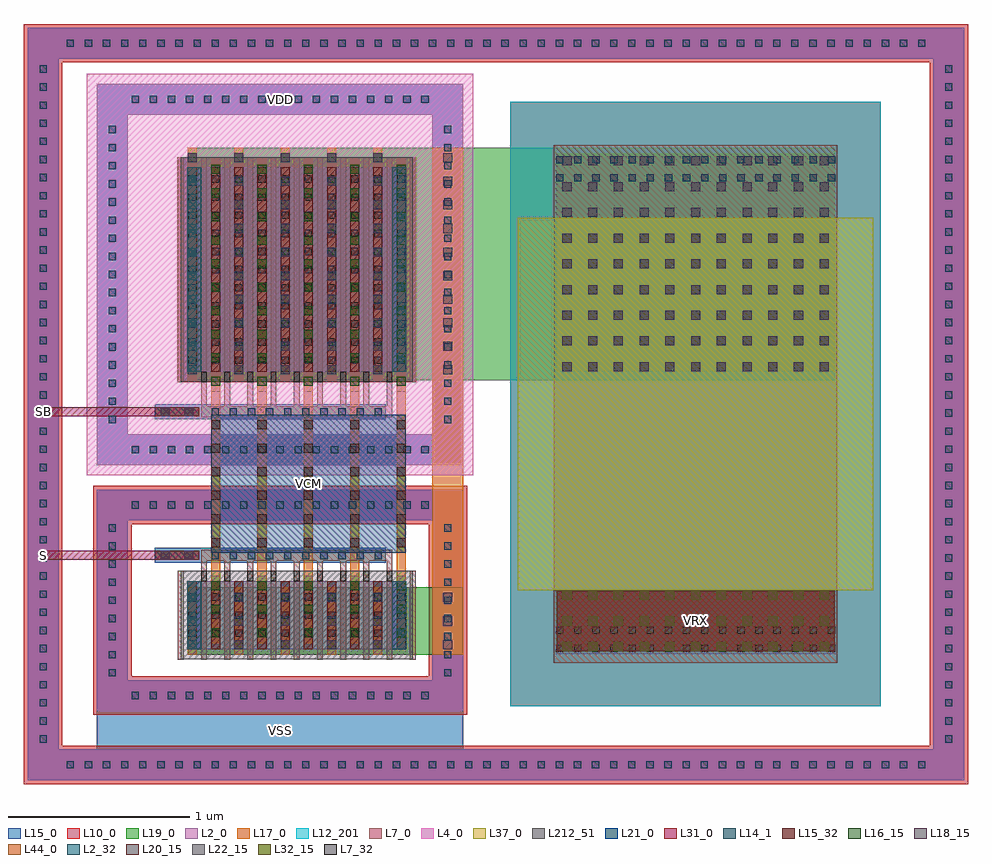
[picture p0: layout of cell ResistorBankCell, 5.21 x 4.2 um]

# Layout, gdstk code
import gdstk
lib = gdstk.Library(unit=1e-6, precision=1e-09)
def R(c, l, rs):  # rectangles x0, y0, x1, y1
    for r in rs: c.add(gdstk.rectangle(r[:2], r[2:], *l))
def A(c, l, x, y, w, h, nx, ny, dx, dy):  # array of equal rectangles
    R(c, l, [(x+i*dx, y+j*dy, x+i*dx+w, y+j*dy+h) for i in range(nx) for j in range(ny)])
L2_0 = (2, 0)
L2_32 = (2, 32)
L4_0 = (4, 0)
L7_0 = (7, 0)
L7_32 = (7, 32)
L10_0 = (10, 0)
L12_201 = (12, 201)
L14_1 = (14, 1)
L15_0 = (15, 0)
L15_32 = (15, 32)
L16_15 = (16, 15)
L17_0 = (17, 0)
L18_15 = (18, 15)
L19_0 = (19, 0)
L20_15 = (20, 15)
L21_0 = (21, 0)
L22_15 = (22, 15)
L31_0 = (31, 0)
L32_15 = (32, 15)
L37_0 = (37, 0)
L44_0 = (44, 0)
L212_51 = (212, 51)

nmosintransmissiongate = lib.new_cell('NMOSInTransmissionGate')
R(nmosintransmissiongate, L2_0, [(-0.604,-0.188,0.604,0.188)])
R(nmosintransmissiongate, L2_32, [(-0.604,-0.188,-0.528,0.188), (0.528,-0.188,0.604,0.188)])
A(nmosintransmissiongate, L7_0, -0.656, -0.245, 0.032, 0.49, 11, 1, 0.128, 0)
A(nmosintransmissiongate, L7_32, -0.528, -0.245, 0.032, 0.057, 9, 1, 0.128, 0)
A(nmosintransmissiongate, L14_1, -0.596, -0.12, 0.04, 0.04, 10, 3, 0.128, 0.1)
A(nmosintransmissiongate, L15_0, -0.601, -0.188, 0.05, 0.376, 10, 1, 0.128, 0)
A(nmosintransmissiongate, L15_32, -0.601, -0.188, 0.05, 0.376, 10, 1, 0.128, 0)
R(nmosintransmissiongate, L212_51, [(-0.64,-0.244,0.64,0.244)])

pmosintransmissiongate = lib.new_cell('PMOSInTransmissionGate')
R(pmosintransmissiongate, L2_0, [(-0.604,-0.564,0.604,0.564)])
R(pmosintransmissiongate, L2_32, [(-0.604,-0.564,-0.528,0.564), (0.528,-0.564,0.604,0.564)])
A(pmosintransmissiongate, L7_0, -0.656, -0.621, 0.032, 1.242, 11, 1, 0.128, 0)
A(pmosintransmissiongate, L7_32, -0.528, -0.621, 0.032, 0.057, 9, 1, 0.128, 0)
R(pmosintransmissiongate, L10_0, [(-0.66,-0.621,0.66,0.621)])
A(pmosintransmissiongate, L14_1, -0.596, -0.52, 0.04, 0.04, 10, 11, 0.128, 0.1)
A(pmosintransmissiongate, L15_0, -0.601, -0.564, 0.05, 1.128, 10, 1, 0.128, 0)
A(pmosintransmissiongate, L15_32, -0.601, -0.564, 0.05, 1.128, 10, 1, 0.128, 0)
R(pmosintransmissiongate, L212_51, [(-0.64,-0.62,0.64,0.62)])

viamet12met2onpmosoutput = lib.new_cell('ViaMet12Met2OnPMOSOutputInTransmissionGate')
R(viamet12met2onpmosoutput, L15_0, [(-0.025,-0.642,0.025,0.642)])
A(viamet12met2onpmosoutput, L16_15, -0.025, -0.61, 0.05, 0.05, 1, 10, 0, 0.13)
R(viamet12met2onpmosoutput, L17_0, [(-0.025,-0.642,0.025,0.642)])

viamet22met3onpmosoutput = lib.new_cell('ViaMet22Met3OnPMOSOutputInTransmissionGate')
R(viamet22met3onpmosoutput, L17_0, [(-0.025,-0.642,0.025,0.642)])
A(viamet22met3onpmosoutput, L18_15, -0.025, -0.61, 0.05, 0.05, 1, 10, 0, 0.13)
R(viamet22met3onpmosoutput, L19_0, [(-0.025,-0.642,0.025,0.642)])

viamet12met2onnmosoutput = lib.new_cell('ViaMet12Met2OnNMOSOutputInTransmissionGate')
R(viamet12met2onnmosoutput, L15_0, [(-0.025,-0.187,0.025,0.187)])
A(viamet12met2onnmosoutput, L16_15, -0.025, -0.155, 0.05, 0.05, 1, 3, 0, 0.13)
R(viamet12met2onnmosoutput, L17_0, [(-0.025,-0.187,0.025,0.187)])

viamet22met3onnmosoutput = lib.new_cell('ViaMet22Met3OnNMOSOutputInTransmissionGate')
R(viamet22met3onnmosoutput, L17_0, [(-0.025,-0.187,0.025,0.187)])
A(viamet22met3onnmosoutput, L18_15, -0.025, -0.155, 0.05, 0.05, 1, 3, 0, 0.13)
R(viamet22met3onnmosoutput, L19_0, [(-0.025,-0.187,0.025,0.187)])

viapoly2met1onpmoscontro = lib.new_cell('ViaPoly2Met1OnPMOSControlInTransmissionGate')
R(viapoly2met1onpmoscontro, L7_0, [(-0.48,-0.03,0.48,0.03)])
A(viapoly2met1onpmoscontro, L14_1, -0.47, -0.02, 0.04, 0.04, 10, 1, 0.1, 0)
R(viapoly2met1onpmoscontro, L15_0, [(-0.491,-0.041,0.491,0.041)])

viapoly2met1onnmoscontro = lib.new_cell('ViaPoly2Met1OnNMOSControlInTransmissionGate')
R(viapoly2met1onnmoscontro, L7_0, [(-0.48,-0.03,0.48,0.03)])
A(viapoly2met1onnmoscontro, L14_1, -0.47, -0.02, 0.04, 0.04, 10, 1, 0.1, 0)
R(viapoly2met1onnmoscontro, L15_0, [(-0.491,-0.041,0.491,0.041)])

transmissiongateinresist = lib.new_cell('TransmissionGateInResistorBank')
transmissiongateinresist.add(gdstk.FlexPath([(-0.512,0.444),(-0.512,0.804)], 0.032, ends="flush", simple_path=True, layer=7, datatype=0))  # L7_0
transmissiongateinresist.add(gdstk.FlexPath([(-0.384,0.444),(-0.384,0.804)], 0.032, ends="flush", simple_path=True, layer=7, datatype=0))  # L7_0
transmissiongateinresist.add(gdstk.FlexPath([(-0.256,0.444),(-0.256,0.804)], 0.032, ends="flush", simple_path=True, layer=7, datatype=0))  # L7_0
transmissiongateinresist.add(gdstk.FlexPath([(-0.128,0.444),(-0.128,0.804)], 0.032, ends="flush", simple_path=True, layer=7, datatype=0))  # L7_0
transmissiongateinresist.add(gdstk.FlexPath([(0,0.444),(0,0.804)], 0.032, ends="flush", simple_path=True, layer=7, datatype=0))  # L7_0
transmissiongateinresist.add(gdstk.FlexPath([(0.128,0.444),(0.128,0.804)], 0.032, ends="flush", simple_path=True, layer=7, datatype=0))  # L7_0
transmissiongateinresist.add(gdstk.FlexPath([(0.256,0.444),(0.256,0.804)], 0.032, ends="flush", simple_path=True, layer=7, datatype=0))  # L7_0
transmissiongateinresist.add(gdstk.FlexPath([(0.384,0.444),(0.384,0.804)], 0.032, ends="flush", simple_path=True, layer=7, datatype=0))  # L7_0
transmissiongateinresist.add(gdstk.FlexPath([(0.512,0.444),(0.512,0.804)], 0.032, ends="flush", simple_path=True, layer=7, datatype=0))  # L7_0
transmissiongateinresist.add(gdstk.FlexPath([(-0.512,2.352),(-0.512,1.537)], 0.032, ends="flush", simple_path=True, layer=7, datatype=0))  # L7_0
transmissiongateinresist.add(gdstk.FlexPath([(-0.384,2.352),(-0.384,1.537)], 0.032, ends="flush", simple_path=True, layer=7, datatype=0))  # L7_0
transmissiongateinresist.add(gdstk.FlexPath([(-0.256,2.352),(-0.256,1.537)], 0.032, ends="flush", simple_path=True, layer=7, datatype=0))  # L7_0
transmissiongateinresist.add(gdstk.FlexPath([(-0.128,2.352),(-0.128,1.537)], 0.032, ends="flush", simple_path=True, layer=7, datatype=0))  # L7_0
transmissiongateinresist.add(gdstk.FlexPath([(0,2.352),(0,1.537)], 0.032, ends="flush", simple_path=True, layer=7, datatype=0))  # L7_0
transmissiongateinresist.add(gdstk.FlexPath([(0.128,2.352),(0.128,1.537)], 0.032, ends="flush", simple_path=True, layer=7, datatype=0))  # L7_0
transmissiongateinresist.add(gdstk.FlexPath([(0.256,2.352),(0.256,1.537)], 0.032, ends="flush", simple_path=True, layer=7, datatype=0))  # L7_0
transmissiongateinresist.add(gdstk.FlexPath([(0.384,2.352),(0.384,1.537)], 0.032, ends="flush", simple_path=True, layer=7, datatype=0))  # L7_0
transmissiongateinresist.add(gdstk.FlexPath([(0.512,2.352),(0.512,1.537)], 0.032, ends="flush", simple_path=True, layer=7, datatype=0))  # L7_0
transmissiongateinresist.add(gdstk.FlexPath([(-0.512,0.774),(0.512,0.774)], 0.06, ends="flush", simple_path=True, layer=7, datatype=0))  # L7_0
transmissiongateinresist.add(gdstk.FlexPath([(-0.512,1.567),(0.512,1.567)], 0.06, ends="flush", simple_path=True, layer=7, datatype=0))  # L7_0
transmissiongateinresist.add(gdstk.Reference(nmosintransmissiongate, (0,0.444), x_reflection=True))
transmissiongateinresist.add(gdstk.Reference(pmosintransmissiongate, (0,2.352)))
transmissiongateinresist.add(gdstk.Reference(viamet12met2onpmosoutput, (-0.448,2.32)))
transmissiongateinresist.add(gdstk.Reference(viamet12met2onpmosoutput, (-0.192,2.32)))
transmissiongateinresist.add(gdstk.Reference(viamet12met2onpmosoutput, (0.064,2.32)))
transmissiongateinresist.add(gdstk.Reference(viamet12met2onpmosoutput, (0.32,2.32)))
transmissiongateinresist.add(gdstk.Reference(viamet12met2onpmosoutput, (0.576,2.32)))
transmissiongateinresist.add(gdstk.Reference(viamet12met2onpmosoutput, (-0.576,2.384)))
transmissiongateinresist.add(gdstk.Reference(viamet12met2onpmosoutput, (-0.32,2.384)))
transmissiongateinresist.add(gdstk.Reference(viamet12met2onpmosoutput, (-0.064,2.384)))
transmissiongateinresist.add(gdstk.Reference(viamet12met2onpmosoutput, (0.192,2.384)))
transmissiongateinresist.add(gdstk.Reference(viamet12met2onpmosoutput, (0.448,2.384)))
transmissiongateinresist.add(gdstk.Reference(viamet22met3onpmosoutput, (-0.576,2.384)))
transmissiongateinresist.add(gdstk.Reference(viamet22met3onpmosoutput, (-0.32,2.384)))
transmissiongateinresist.add(gdstk.Reference(viamet22met3onpmosoutput, (-0.064,2.384)))
transmissiongateinresist.add(gdstk.Reference(viamet22met3onpmosoutput, (0.192,2.384)))
transmissiongateinresist.add(gdstk.Reference(viamet22met3onpmosoutput, (0.448,2.384)))
transmissiongateinresist.add(gdstk.Reference(viamet12met2onnmosoutput, (-0.448,0.476)))
transmissiongateinresist.add(gdstk.Reference(viamet12met2onnmosoutput, (-0.192,0.476)))
transmissiongateinresist.add(gdstk.Reference(viamet12met2onnmosoutput, (0.064,0.476)))
transmissiongateinresist.add(gdstk.Reference(viamet12met2onnmosoutput, (0.32,0.476)))
transmissiongateinresist.add(gdstk.Reference(viamet12met2onnmosoutput, (0.576,0.476)))
transmissiongateinresist.add(gdstk.Reference(viamet12met2onnmosoutput, (-0.576,0.412)))
transmissiongateinresist.add(gdstk.Reference(viamet12met2onnmosoutput, (-0.32,0.412)))
transmissiongateinresist.add(gdstk.Reference(viamet12met2onnmosoutput, (-0.064,0.412)))
transmissiongateinresist.add(gdstk.Reference(viamet12met2onnmosoutput, (0.192,0.412)))
transmissiongateinresist.add(gdstk.Reference(viamet12met2onnmosoutput, (0.448,0.412)))
transmissiongateinresist.add(gdstk.Reference(viamet22met3onnmosoutput, (-0.576,0.412)))
transmissiongateinresist.add(gdstk.Reference(viamet22met3onnmosoutput, (-0.32,0.412)))
transmissiongateinresist.add(gdstk.Reference(viamet22met3onnmosoutput, (-0.064,0.412)))
transmissiongateinresist.add(gdstk.Reference(viamet22met3onnmosoutput, (0.192,0.412)))
transmissiongateinresist.add(gdstk.Reference(viamet22met3onnmosoutput, (0.448,0.412)))
transmissiongateinresist.add(gdstk.Reference(viapoly2met1onpmoscontro, (0,1.567)))
transmissiongateinresist.add(gdstk.Reference(viapoly2met1onnmoscontro, (0,0.774)))

viamet12met2oninputinres = lib.new_cell('ViaMet12Met2OnInputInResistorBank')
R(viamet12met2oninputinres, L15_0, [(-0.122,-0.025,0.122,0.025)])
R(viamet12met2oninputinres, L16_15, [(-0.09,-0.025,-0.04,0.025), (0.04,-0.025,0.09,0.025)])
R(viamet12met2oninputinres, L17_0, [(-0.122,-0.025,0.122,0.025)])

viamet22met3oninputinres = lib.new_cell('ViaMet22Met3OnInputInResistorBank')
R(viamet22met3oninputinres, L17_0, [(-0.122,-0.025,0.122,0.025)])
R(viamet22met3oninputinres, L18_15, [(-0.09,-0.025,-0.04,0.025), (0.04,-0.025,0.09,0.025)])
R(viamet22met3oninputinres, L19_0, [(-0.122,-0.025,0.122,0.025)])

viamet32met4oninputinres = lib.new_cell('ViaMet32Met4OnInputInResistorBank')
R(viamet32met4oninputinres, L19_0, [(-0.122,-0.025,0.122,0.025)])
R(viamet32met4oninputinres, L20_15, [(-0.09,-0.025,-0.04,0.025), (0.04,-0.025,0.09,0.025)])
R(viamet32met4oninputinres, L21_0, [(-0.122,-0.025,0.122,0.025)])

viamet42met5oninputinres = lib.new_cell('ViaMet42Met5OnInputInResistorBank')
R(viamet42met5oninputinres, L21_0, [(-0.122,-0.025,0.122,0.025)])
R(viamet42met5oninputinres, L22_15, [(-0.09,-0.025,-0.04,0.025), (0.04,-0.025,0.09,0.025)])
R(viamet42met5oninputinres, L31_0, [(-0.122,-0.025,0.122,0.025)])

opppcresinresistorbank = lib.new_cell('OpppcresInResistorBank')
R(opppcresinresistorbank, L7_0, [(-0.782,-1.429,0.782,1.429)])
R(opppcresinresistorbank, L10_0, [(-1.022,-1.669,1.022,1.669)])
R(opppcresinresistorbank, L12_201, [(-1.022,-1.669,1.022,1.669)])
A(opppcresinresistorbank, L14_1, -0.77, -1.369, 0.04, 0.04, 16, 2, 0.1, 0.1)
A(opppcresinresistorbank, L14_1, -0.77, 1.229, 0.04, 0.04, 16, 2, 0.1, 0.1)
R(opppcresinresistorbank, L15_0, [(-0.782,-1.381,0.782,-1.217), (-0.782,1.217,0.782,1.381)])
R(opppcresinresistorbank, L37_0, [(-0.982,-1.029,0.982,1.029)])

pmossubringinresistorban = lib.new_cell('PMOSSubringInResistorBank')
R(pmossubringinresistorban, L2_0, [(-1.011,-1.052,1.011,-0.882), (-1.011,-1.052,-0.841,1.052), (0.841,-1.052,1.011,1.052), (-1.011,0.882,1.011,1.052)])
A(pmossubringinresistorban, L14_1, -0.82, -0.987, 0.04, 0.04, 17, 2, 0.1, 1.934)
A(pmossubringinresistorban, L14_1, -0.946, -0.82, 0.04, 0.04, 1, 17, 0, 0.1)
A(pmossubringinresistorban, L14_1, 0.906, -0.82, 0.04, 0.04, 1, 17, 0, 0.1)
R(pmossubringinresistorban, L15_0, [(-1.011,-1.052,1.011,-0.882), (-1.011,-1.052,-0.841,1.052), (0.841,-1.052,1.011,1.052), (-1.011,0.882,1.011,1.052)])
pmossubringinresistorban.add(gdstk.FlexPath([(0.926,1.108),(0.926,-0.967),(-0.926,-0.967),(-0.926,0.967),(1.067,0.967)], 0.282, ends="flush", simple_path=True, layer=4, datatype=0))  # L4_0

nmossubringinresistorban = lib.new_cell('NMOSSubringInResistorBank')
R(nmossubringinresistorban, L2_0, [(-1.011,-0.611,1.011,-0.441), (-1.011,-0.611,-0.841,0.611), (0.841,-0.611,1.011,0.611), (-1.011,0.441,1.011,0.611)])
A(nmossubringinresistorban, L14_1, -0.82, -0.546, 0.04, 0.04, 17, 2, 0.1, 1.052)
A(nmossubringinresistorban, L14_1, -0.946, -0.42, 0.04, 0.04, 1, 9, 0, 0.1)
A(nmossubringinresistorban, L14_1, 0.906, -0.42, 0.04, 0.04, 1, 9, 0, 0.1)
R(nmossubringinresistorban, L15_0, [(-1.011,-0.611,1.011,-0.441), (-1.011,-0.611,-0.841,0.611), (0.841,-0.611,1.011,0.611), (-1.011,0.441,1.011,0.611)])
nmossubringinresistorban.add(gdstk.FlexPath([(0.926,0.632),(0.926,-0.526),(-0.926,-0.526),(-0.926,0.526),(1.032,0.526)], 0.212, ends="flush", simple_path=True, layer=10, datatype=0))  # L10_0

totalsubringinresistorba = lib.new_cell('TotalSubringInResistorBank')
R(totalsubringinresistorba, L2_0, [(-2.585,-2.077,2.585,-1.907), (-2.585,-2.077,-2.415,2.077), (2.415,-2.077,2.585,2.077), (-2.585,1.907,2.585,2.077)])
A(totalsubringinresistorba, L14_1, -2.37, -2.012, 0.04, 0.04, 48, 2, 0.1, 3.984)
A(totalsubringinresistorba, L14_1, -2.52, -1.87, 0.04, 0.04, 1, 38, 0, 0.1)
A(totalsubringinresistorba, L14_1, 2.48, -1.87, 0.04, 0.04, 1, 38, 0, 0.1)
R(totalsubringinresistorba, L15_0, [(-2.585,-2.077,2.585,-1.907), (-2.585,-2.077,-2.415,2.077), (2.415,-2.077,2.585,2.077), (-2.585,1.907,2.585,2.077)])
totalsubringinresistorba.add(gdstk.FlexPath([(2.5,2.098),(2.5,-1.992),(-2.5,-1.992),(-2.5,1.992),(2.606,1.992)], 0.212, ends="flush", simple_path=True, layer=10, datatype=0))  # L10_0

viamet12met2onresistorin = lib.new_cell('ViaMet12Met2OnResistorInResistorBank')
R(viamet12met2onresistorin, L15_0, [(-0.767,-0.593,0.767,0.593)])
A(viamet12met2onresistorin, L16_15, -0.735, -0.593, 0.05, 0.05, 11, 9, 0.142, 0.142)
R(viamet12met2onresistorin, L17_0, [(-0.767,-0.593,0.767,0.593)])

viamet12met2onresistor1i = lib.new_cell('ViaMet12Met2OnResistor1InResistorBank')
R(viamet12met2onresistor1i, L15_0, [(-0.767,-0.167,0.767,0.167)])
A(viamet12met2onresistor1i, L16_15, -0.735, -0.167, 0.05, 0.05, 11, 3, 0.142, 0.142)
R(viamet12met2onresistor1i, L17_0, [(-0.767,-0.167,0.767,0.167)])

viamet22met3onresistorin = lib.new_cell('ViaMet22Met3OnResistorInResistorBank')
R(viamet22met3onresistorin, L17_0, [(-0.767,-0.593,0.767,0.593)])
A(viamet22met3onresistorin, L18_15, -0.735, -0.593, 0.05, 0.05, 11, 9, 0.142, 0.142)
R(viamet22met3onresistorin, L19_0, [(-0.767,-0.593,0.767,0.593)])

viamet22met3onresistor1i = lib.new_cell('ViaMet22Met3OnResistor1InResistorBank')
R(viamet22met3onresistor1i, L17_0, [(-0.767,-0.167,0.767,0.167)])
A(viamet22met3onresistor1i, L18_15, -0.735, -0.167, 0.05, 0.05, 11, 3, 0.142, 0.142)
R(viamet22met3onresistor1i, L19_0, [(-0.767,-0.167,0.767,0.167)])

viamet32met4onresistorin = lib.new_cell('ViaMet32Met4OnResistorInResistorBank')
R(viamet32met4onresistorin, L19_0, [(-0.767,-0.167,0.767,0.167)])
A(viamet32met4onresistorin, L20_15, -0.735, -0.167, 0.05, 0.05, 11, 3, 0.142, 0.142)
R(viamet32met4onresistorin, L21_0, [(-0.767,-0.167,0.767,0.167)])

viamet42met5onresistorin = lib.new_cell('ViaMet42Met5OnResistorInResistorBank')
R(viamet42met5onresistorin, L21_0, [(-0.767,-0.167,0.767,0.167)])
A(viamet42met5onresistorin, L22_15, -0.735, -0.167, 0.05, 0.05, 11, 3, 0.142, 0.142)
R(viamet42met5onresistorin, L31_0, [(-0.767,-0.167,0.767,0.167)])

viamet52met6onresistorin = lib.new_cell('ViaMet52Met6OnResistorInResistorBank')
R(viamet52met6onresistorin, L31_0, [(-0.767,-0.167,0.767,0.167)])
A(viamet52met6onresistorin, L32_15, -0.735, -0.167, 0.05, 0.05, 11, 3, 0.142, 0.142)
R(viamet52met6onresistorin, L44_0, [(-0.767,-0.167,0.767,0.167)])

viavcmmet22met3inresisto = lib.new_cell('ViaVCMMet22Met3InResistorBank')
R(viavcmmet22met3inresisto, L17_0, [(-0.025,-0.382,0.025,0.382)])
A(viavcmmet22met3inresisto, L18_15, -0.025, -0.35, 0.05, 0.05, 1, 6, 0, 0.13)
R(viavcmmet22met3inresisto, L19_0, [(-0.025,-0.382,0.025,0.382)])

viavcmmet32met4inresisto = lib.new_cell('ViaVCMMet32Met4InResistorBank')
R(viavcmmet32met4inresisto, L19_0, [(-0.025,-0.382,0.025,0.382)])
A(viavcmmet32met4inresisto, L20_15, -0.025, -0.35, 0.05, 0.05, 1, 6, 0, 0.13)
R(viavcmmet32met4inresisto, L21_0, [(-0.025,-0.382,0.025,0.382)])

viatgpmos2resmet22met3in = lib.new_cell('ViaTGPMOS2ResMet22Met3InResistorBank')
R(viatgpmos2resmet22met3in, L17_0, [(-0.057,-0.61,0.057,0.61)])
A(viatgpmos2resmet22met3in, L18_15, -0.025, -0.61, 0.05, 0.05, 1, 10, 0, 0.13)
R(viatgpmos2resmet22met3in, L19_0, [(-0.057,-0.61,0.057,0.61)])

viatgnmos2resmet22met3in = lib.new_cell('ViaTGNMOS2ResMet22Met3InResistorBank')
R(viatgnmos2resmet22met3in, L17_0, [(-0.057,-0.155,0.057,0.155)])
A(viatgnmos2resmet22met3in, L18_15, -0.025, -0.155, 0.05, 0.05, 1, 3, 0, 0.13)
R(viatgnmos2resmet22met3in, L19_0, [(-0.057,-0.155,0.057,0.155)])

resistorbankcell = lib.new_cell('ResistorBankCell')
R(resistorbankcell, L15_0, [(-1.103,-0.467,0.919,0.085)])
A(resistorbankcell, L17_0, -0.473, 0.289, 0.05, 2.674, 5, 1, 0.256, 0)
R(resistorbankcell, L21_0, [(-0.448,0.788,0.576,1.552)])
resistorbankcell.add(gdstk.FlexPath([(-0.661,1.567),(-1.4,1.567)], 0.05, ends="flush", simple_path=True, layer=31, datatype=0))  # L31_0
resistorbankcell.add(gdstk.FlexPath([(-0.661,0.774),(-1.4,0.774)], 0.05, ends="flush", simple_path=True, layer=31, datatype=0))  # L31_0
resistorbankcell.add(gdstk.FlexPath([(-0.933,2.325),(0.749,2.325)], 1.764, ends="flush", simple_path=True, layer=4, datatype=0))  # L4_0
resistorbankcell.add(gdstk.FlexPath([(-0.783,1.567),(0,1.567)], 0.082, ends="flush", simple_path=True, layer=15, datatype=0))  # L15_0
resistorbankcell.add(gdstk.FlexPath([(-0.783,0.774),(0,0.774)], 0.082, ends="flush", simple_path=True, layer=15, datatype=0))  # L15_0
resistorbankcell.add(gdstk.FlexPath([(2.202,1.791),(2.202,2.991)], 1.564, ends="flush", simple_path=True, layer=15, datatype=0))  # L15_0
resistorbankcell.add(gdstk.FlexPath([(2.202,0.579),(2.202,0.229)], 1.564, ends="flush", simple_path=True, layer=15, datatype=0))  # L15_0
resistorbankcell.add(gdstk.FlexPath([(-0.576,2.384),(2.969,2.384)], 1.284, ends="flush", simple_path=True, layer=19, datatype=0))  # L19_0
resistorbankcell.add(gdstk.FlexPath([(-0.576,0.412),(0.919,0.412)], 0.374, ends="flush", simple_path=True, layer=19, datatype=0))  # L19_0
resistorbankcell.add(gdstk.FlexPath([(0.834,3.026),(0.834,0.225)], 0.17, ends="flush", simple_path=True, layer=17, datatype=0))  # L17_0
resistorbankcell.add(gdstk.Reference(transmissiongateinresist, (0,0)))
resistorbankcell.add(gdstk.Reference(viamet12met2oninputinres, (-0.661,1.567)))
resistorbankcell.add(gdstk.Reference(viamet12met2oninputinres, (-0.661,0.774)))
resistorbankcell.add(gdstk.Reference(viamet22met3oninputinres, (-0.661,1.567)))
resistorbankcell.add(gdstk.Reference(viamet22met3oninputinres, (-0.661,0.774)))
resistorbankcell.add(gdstk.Reference(viamet32met4oninputinres, (-0.661,1.567)))
resistorbankcell.add(gdstk.Reference(viamet32met4oninputinres, (-0.661,0.774)))
resistorbankcell.add(gdstk.Reference(viamet42met5oninputinres, (-0.661,1.567)))
resistorbankcell.add(gdstk.Reference(viamet42met5oninputinres, (-0.661,0.774)))
resistorbankcell.add(gdstk.Reference(opppcresinresistorbank, (2.202,1.61)))
resistorbankcell.add(gdstk.Reference(pmossubringinresistorban, (-0.092,2.325)))
resistorbankcell.add(gdstk.Reference(nmossubringinresistorban, (-0.092,0.526)))
resistorbankcell.add(gdstk.Reference(totalsubringinresistorba, (1.1,1.61)))
resistorbankcell.add(gdstk.Reference(viamet12met2onresistorin, (2.202,2.384)))
resistorbankcell.add(gdstk.Reference(viamet12met2onresistor1i, (2.202,0.412)))
resistorbankcell.add(gdstk.Reference(viamet22met3onresistorin, (2.202,2.384)))
resistorbankcell.add(gdstk.Reference(viamet22met3onresistor1i, (2.202,0.412)))
resistorbankcell.add(gdstk.Reference(viamet32met4onresistorin, (2.202,0.412)))
resistorbankcell.add(gdstk.Reference(viamet42met5onresistorin, (2.202,0.412)))
resistorbankcell.add(gdstk.Reference(viamet52met6onresistorin, (2.202,0.412)))
resistorbankcell.add(gdstk.Reference(viavcmmet22met3inresisto, (-0.448,1.17)))
resistorbankcell.add(gdstk.Reference(viavcmmet22met3inresisto, (-0.192,1.17)))
resistorbankcell.add(gdstk.Reference(viavcmmet22met3inresisto, (0.064,1.17)))
resistorbankcell.add(gdstk.Reference(viavcmmet22met3inresisto, (0.32,1.17)))
resistorbankcell.add(gdstk.Reference(viavcmmet22met3inresisto, (0.576,1.17)))
resistorbankcell.add(gdstk.Reference(viavcmmet32met4inresisto, (-0.448,1.17)))
resistorbankcell.add(gdstk.Reference(viavcmmet32met4inresisto, (-0.192,1.17)))
resistorbankcell.add(gdstk.Reference(viavcmmet32met4inresisto, (0.064,1.17)))
resistorbankcell.add(gdstk.Reference(viavcmmet32met4inresisto, (0.32,1.17)))
resistorbankcell.add(gdstk.Reference(viavcmmet32met4inresisto, (0.576,1.17)))
resistorbankcell.add(gdstk.Reference(viatgpmos2resmet22met3in, (0.834,2.384)))
resistorbankcell.add(gdstk.Reference(viatgnmos2resmet22met3in, (0.834,0.412)))
resistorbankcell.add(gdstk.Label('VDD', (-0.092,3.292), layer=15, texttype=20))
resistorbankcell.add(gdstk.Label('VSS', (-0.092,-0.191), layer=15, texttype=20))
resistorbankcell.add(gdstk.Label('S', (-1.4,0.774), layer=31, texttype=20))
resistorbankcell.add(gdstk.Label('SB', (-1.4,1.567), layer=31, texttype=20))
resistorbankcell.add(gdstk.Label('VRX', (2.202,0.412), layer=44, texttype=20))
resistorbankcell.add(gdstk.Label('VCM', (0.064,1.17), layer=21, texttype=20))

lib.write_gds('ResistorBankCell.gds')
